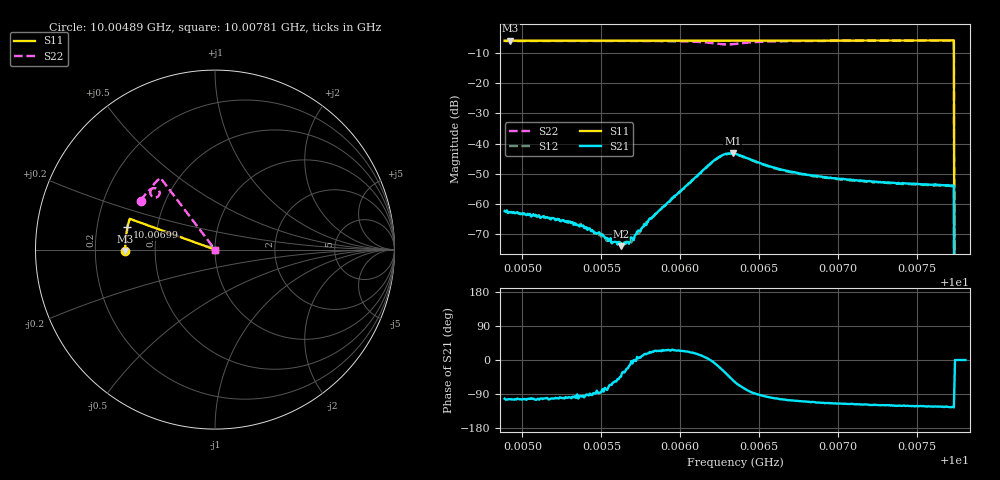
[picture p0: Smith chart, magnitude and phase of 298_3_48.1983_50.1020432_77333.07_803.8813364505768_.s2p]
#  HZ  S  RI  R  50.00
! Rohde & Schwarz Vector Network Analyzer
! Rohde-Schwarz,ZNB20-2Port,1311601062101988,3.16
! Created: UTC 3/20/2024, 11:49:22 AM
! freq[Hz]  re:S11  im:S11  re:S21  im:S21  re:S12  im:S12  re:S22  im:S22
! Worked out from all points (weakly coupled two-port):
!   401 points, 10.00489 GHz to 10.00781 GHz, reference 50 ohm
!   highest |S21| = -43.23 dB at 10.00633 GHz (marker M1); lowest = -73.9 dB at 10.00562 GHz (marker M2)
!   lowest |S11| = -6.0 dB at 10.00492 GHz (marker M3), VSWR 2.99, Z = 16.7 - j0.307 ohm
!   |S11| at or under -10 dB: 10.00773 GHz to end of sweep
!   |S22| runs from - to -6.0 dB; largest |S21 - S12| = 0.00041
!   S11 on the Smith chart (normalised r, x): 10.00489 GHz: 0.33, -0.01; 10.00699 GHz: 0.33, +0.11; 10.00781 GHz: 1.00, +0.00
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1.0004887e10  -0.4992 -0.00938  -0.000162 -0.000756  -0.000128 -0.00073  -0.4129 0.2713
1.0004924e10  -0.4992 -0.0069  -0.00017 -0.000713  -0.000159 -0.000723  -0.4118 0.2735
1.0005143e10  -0.4998 0.00726  -0.000122 -0.0006  -0.000107 -0.000582  -0.4036 0.2865
1.0005376e10  -0.4998 0.0224  -4.85e-05 -0.000433  -3.17e-05 -0.000405  -0.3942 0.3003
1.00055e10  -0.4995 0.0304  3.28e-05 -0.000312  5.29e-05 -0.000284  -0.3886 0.308
1.0005529e10  -0.4996 0.0324  6.39e-05 -0.000267  7.53e-05 -0.000247  -0.3871 0.3096
1.0005624e10  -0.4993 0.0385  0.000146 -0.00014  0.000169 -0.000144  -0.3822 0.3155
1.0005639e10  -0.4992 0.0395  0.000191 -0.000116  0.000174 -0.000104  -0.3815 0.3166
1.000569e10  -0.4991 0.0429  0.000282 -1.44e-05  0.000233 -1.27e-05  -0.3785 0.3197
1.000577e10  -0.4987 0.0479  0.000416 0.000109  0.000457 0.000125  -0.3736 0.3249
1.0005865e10  -0.4983 0.054  0.000717 0.000312  0.000691 0.000344  -0.3665 0.331
1.0006223e10  -0.4955 0.0771  0.0054 -0.000951  0.00534 -0.000684  -0.3104 0.3258
1.0006274e10  -0.495 0.08  0.00576 -0.00318  0.00577 -0.00286  -0.3102 0.306
1.0006332e10  -0.4947 0.0836  0.00416 -0.00549  0.00434 -0.00517  -0.3281 0.291
1.0006347e10  -0.4945 0.0844  0.00357 -0.00577  0.00379 -0.00546  -0.3338 0.2904
1.0006609e10  -0.4924 0.1013  -0.000765 -0.00386  -0.000602 -0.00378  -0.3593 0.3308
1.0006835e10  -0.4897 0.1157  -0.00105 -0.00279  -0.000906 -0.00275  -0.3494 0.352
1.0006989e10  -0.4876 0.1254  -0.00113 -0.00241  -0.000962 -0.00242  -0.3417 0.3624
1.0007324e10  -0.4824 0.1463  -0.00111 -0.00199  -0.00101 -0.00199  -0.325 0.3811
1.0007718e10  -0.4754 0.1706  -0.00115 -0.00169  -0.00105 -0.00167  -0.305 0.3997
1.0007755e10  0 0  0 0  0 0  0 0
1.0007806e10  0 0  0 0  0 0  0 0
